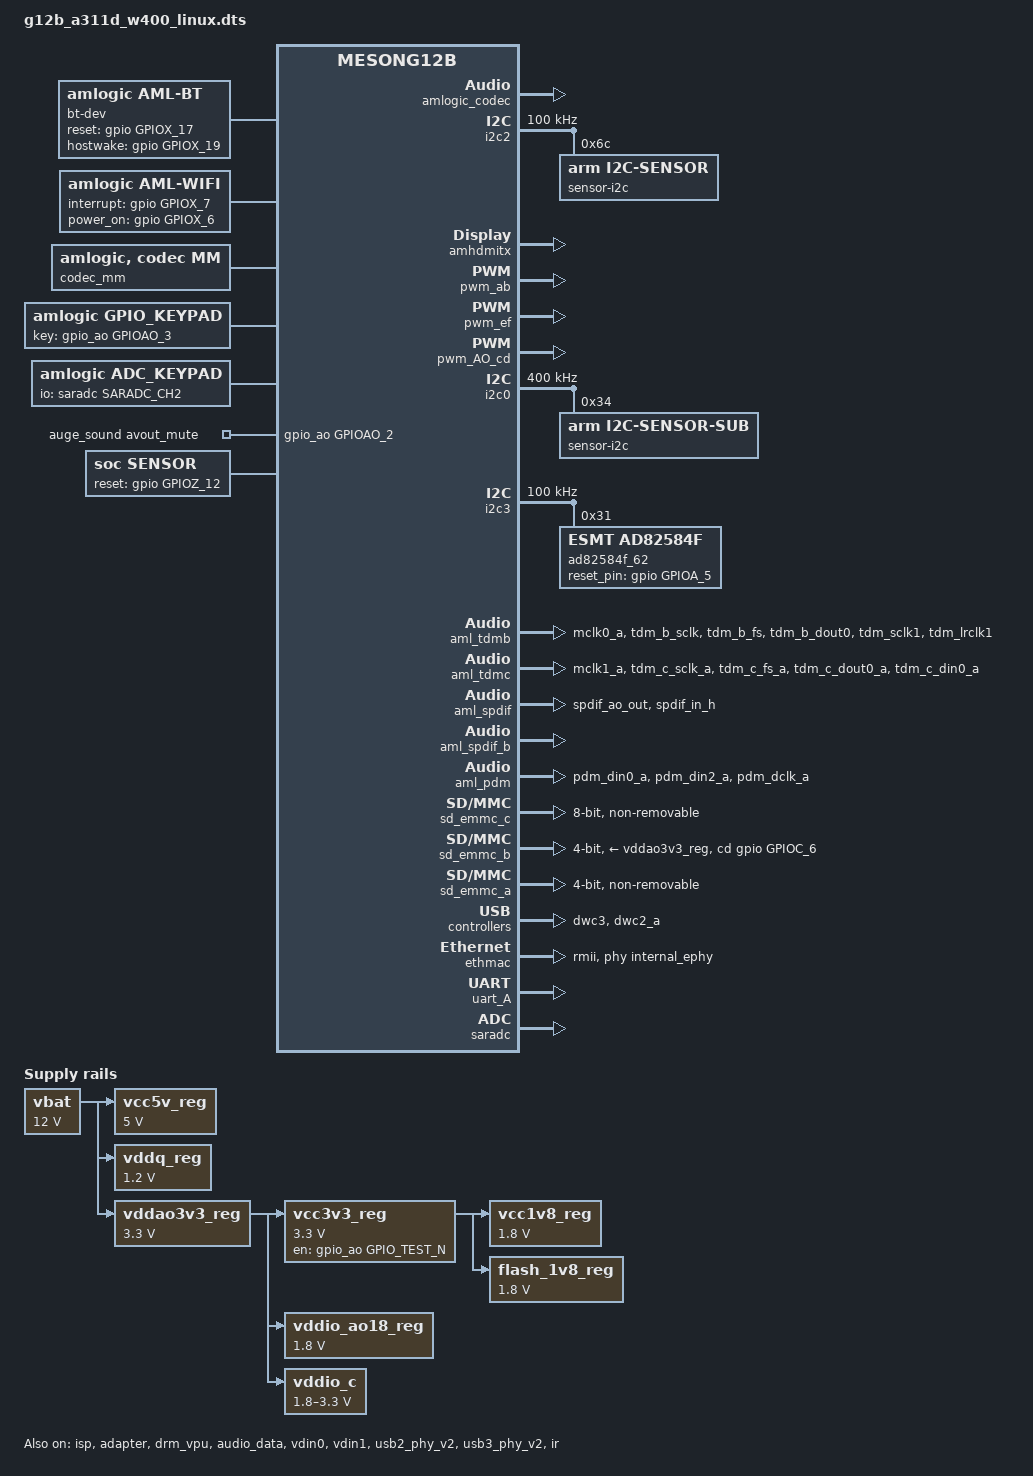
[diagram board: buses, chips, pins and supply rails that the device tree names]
// SPDX-License-Identifier: (GPL-2.0+ OR MIT)
/*
 * Copyright (c) 2019 Amlogic, Inc. All rights reserved.
 */

/dts-v1/;
#include "mesong12b.dtsi"
#include "mesong12b_w400-panel.dtsi"
#include "mesong12b_drm_dual_disp.dtsi"
#include "partition_normal_linux.dtsi"
#include "meson-ir-map-linux.dtsi"

/ {
	amlogic-dt-id = "g12b_w400_a";
	compatible = "g12b_w400_a";
	interrupt-parent = <&gic>;
	#address-cells = <2>;
	#size-cells = <2>;

	aliases {
		serial0 = &uart_AO;
		serial1 = &uart_A;
		serial2 = &uart_B;
		serial3 = &uart_C;
		serial4 = &uart_AO_B;
		i2c0 = &i2c0;
		i2c1 = &i2c1;
		i2c2 = &i2c2;
		i2c3 = &i2c3;
		i2c4 = &i2c_AO;
		tsensor0 = &p_tsensor;
		tsensor1 = &d_tsensor;
		spi1 = &spicc0;
		spi2 = &spicc1;
	};

	memory@00000000 {
		device_type = "memory";
		linux,usable-memory = <0x0 0x000000 0x0 0x80000000>;
	};
	reserved-memory {
		#address-cells = <2>;
		#size-cells = <2>;
		ranges;
		/* global autoconfigured region for contiguous allocations */
		ramoops@0x07400000 {
			compatible = "ramoops";
			reg = <0x0 0x07400000 0x0 0x00100000>;
			record-size = <0x20000>;
			console-size = <0x40000>;
			ftrace-size = <0x80000>;
			pmsg-size = <0x20000>;
		};

		dmc_reserved:linux,dmc_monitor {
			compatible = "amlogic,dmc_monitor-reserved";
			reg = <0x0 0x0 0x0 0x80000>;
		};

		debug_reserved:linux,iotrace {
			compatible = "amlogic, iotrace";
			reg = <0x0 0x04f00000 0x0 0x00100000>;
			io-size = <0x1b000>;
			sched-size = <0x2000>;
			irq-size = <0x1000>;
			smc-size = <0x1000>;
			misc-size = <0x1000>;
		};

		defendkey_reserved:linux,defendkey {
			compatible = "amlogic, defendkey";
			reg = <0x0 0x04e00000 0x0 0x100000>;
		};
		secmon_reserved:linux,secmon {
			compatible = "shared-dma-pool";
			/*reusable;*/
			no-map;
			size = <0x0 0x400000>;
			alignment = <0x0 0x400000>;
			alloc-ranges = <0x0 0x05000000 0x0 0x400000>;
		};
		logo_reserved:linux,meson-fb {
			compatible = "amlogic, meson-fb";
			reusable;
			size = <0x0 0x800000>;
			alignment = <0x0 0x400000>;
			reg = <0x0 0x3e800000 0x0 0x800000>;
		};
		ion_cma_reserved:linux,ion-dev {
			compatible = "shared-dma-pool";
			reusable;
			size = <0x0 0x0>;
			alignment = <0x0 0x400000>;
			no-kernel-map;
		};
		ion_fb_reserved:linux,ion-fb {
			compatible = "shared-dma-pool";
			reusable;
			size = <0x0 0x0>;
			alignment = <0x0 0x400000>;
		};
		dmaheap_cma_reserved:heap-gfx {
			compatible = "shared-dma-pool";
			reusable;
			size = <0x0 0x12c00000>;
			alignment = <0x0 0x400000>;
		};
		dmaheap_fb_reserved:heap-fb {
			compatible = "shared-dma-pool";
			reusable;
			size = <0x0 0x0>;
			alignment = <0x0 0x400000>;
		};

		//di_reserved:linux,di {
			//compatible = "amlogic, di-mem";
			/* buffer_size = 3621952(yuv422 8bit) */
			/* 4179008(yuv422 10bit full pack mode) */
			/** 10x3621952=34.6M(0x23) support 8bit **/
			/** 10x4736064=45.2M(0x2e) support 12bit **/
			/** 10x4179008=40M(0x28) support 10bit **/
			//size = <0x0 0x2800000>;
			//no-map;
		//};
		/*di CMA pool */
		di_cma_reserved:linux,di_cma {
			compatible = "shared-dma-pool";
			reusable;
			/* buffer_size = 3621952(yuv422 8bit)
			 *  | 4736064(yuv422 10bit)
			 *  | 4074560(yuv422 10bit full pack mode)
			 * 10x3621952=34.6M(0x23) support 8bit
			 * 10x4736064=45.2M(0x2e) support 12bit
			 * 10x4074560=40M(0x28) support 10bit
			 */
			//size = <0x0 0x02800000>;
			alignment = <0x0 0x400000>;
		};
		/*  POST PROCESS MANAGER */
		ppmgr_reserved:linux,ppmgr {
			compatible = "shared-dma-pool";
			size = <0x0 0x0>;
		};
		codec_mm_cma:linux,codec_mm_cma {
			compatible = "shared-dma-pool";
			reusable;
			/* ion_codec_mm max can alloc size 80M*/
			size = <0x0 0x13400000>;
			alignment = <0x0 0x400000>;
			linux,contiguous-region;
			clear-map;
		};
		/* codec shared reserved */
		codec_mm_reserved:linux,codec_mm_reserved {
			compatible = "amlogic, codec-mm-reserved";
			size = <0x0 0x0>;
			alignment = <0x0 0x100000>;
			//no-map;
		};

		/*  vdin1 CMA pool */
		vdin1_cma_reserved:linux,vdin1_cma {
			compatible = "shared-dma-pool";
			reusable;
			/* up to 1920x1080 yuv422 8bit and 5 buffers
			 * 1920x1080x2x5 = 20 M
			 */
			size = <0x0 0x01400000>;
			alignment = <0x0 0x400000>;
		};
		galcore_reserved:linux,galcore {
			compatible = "shared-dma-pool";
			reusable;
			size = <0x0 0x0>;
			alignment = <0x0 0x400000>;
			linux,contiguous-region;
		};

		isp_cma_reserved:linux,isp_cma {
			compatible = "shared-dma-pool";
			reusable;
			status = "okay";
			size = <0x0 0x8000000>;
			alignment = <0x0 0x400000>;
		};

		adapt_cma_reserved:linux,adapt_cma {
			compatible = "shared-dma-pool";
			reusable;
			status = "okay";
			size = <0x0 0x4000000>;
		};
	};
	galcore {
		status = "okay";
		memory-region = <&galcore_reserved>;
	};
	gpioleds {
		compatible = "gpio-leds";
		status = "disable";

		sys_led {
			label="sys_led";
			gpios=<&gpio_ao GPIOAO_11 GPIO_ACTIVE_HIGH>;
			default-state ="on";
			retain-state-suspended;
			linux,default-trigger="cpu0";
		};
	};

	bt-dev{
		compatible = "amlogic, aml-bt";
		dev_name = "bt-dev";
		status = "okay";
		reset-gpios = <&gpio GPIOX_17 GPIO_ACTIVE_HIGH>;
		hostwake-gpios = <&gpio GPIOX_19 GPIO_ACTIVE_HIGH>;
	};

	wifi{
		compatible = "amlogic, aml-wifi";
		dev_name = "aml_wifi";
		status = "okay";
		interrupt-gpios = <&gpio GPIOX_7 GPIO_ACTIVE_HIGH>;
		irq_trigger_type = "IRQF_TRIGGER_LOW";
		power_on-gpios = <&gpio GPIOX_6 GPIO_ACTIVE_HIGH>;
		wifi_static_buf = <1>;
		pinctrl-names = "default";
		pinctrl-0 = <&pwm_e_pins>;
		pwm_config = <&wifi_pwm_conf>;
	};

	wifi_pwm_conf:wifi_pwm_conf{
		pwm_channel1_conf {
			pwms = <&pwm_ef MESON_PWM_0 30541 0>;
			duty-cycle = <15270>;
			times = <10>;
		};
		pwm_channel2_conf {
			pwms = <&pwm_ef MESON_PWM_2 30500 0>;
			duty-cycle = <15250>;
			times = <12>;
		};
	};

	codec_mm {
		compatible = "amlogic, codec, mm";
		memory-region = <&codec_mm_cma &codec_mm_reserved>;
		dev_name = "codec_mm";
		status = "okay";
	};

	ppmgr {
		compatible = "amlogic, ppmgr";
		memory-region = <&ppmgr_reserved>;
		dev_name = "ppmgr";
		status = "okay";
	};

	deinterlace {
		compatible = "amlogic, deinterlace";
		status = "disabled";
		/* 0:use reserved; 1:use cma; 2:use cma as reserved */
		flag_cma = <4>; //<1>;
		//memory-region = <&di_reserved>;
		memory-region = <&di_cma_reserved>;
		interrupts = <0 46 1
				0 40 1>;
		interrupt-names = "pre_irq", "post_irq";
		clocks = <&clkc CLKID_VPU_CLKB_TMP>,
			<&clkc CLKID_VPU_CLKB>;
		clock-names = "vpu_clkb",
			"vpu_mux";
		clock-range = <334 667>;
		/* buffer-size = <3621952>;(yuv422 8bit) */
		buffer-size = <4074560>;/*yuv422 fullpack*/
		/* reserve-iomap = "true"; */
		/* if enable nr10bit, set nr10bit-support to 1 */
		post-wr-support = <1>;
		nr10bit-support = <1>;
		nrds-enable = <1>;
		pps-enable = <1>;
	};
	multi-di {
		compatible = "amlogic, dim-g12b";
		status = "okay";
		/* 0:use reserved; 1:use cma; 2:use cma as reserved */
		flag_cma = <4>;	//<1>;
		//memory-region = <&di_reserved>;
		memory-region = <&di_cma_reserved>;
		interrupts = <0 46 1
				0 40 1>;
		interrupt-names = "pre_irq", "post_irq";
		clocks = <&clkc CLKID_VPU_CLKB_TMP>,
			<&clkc CLKID_VPU_CLKB>;
		clock-names = "vpu_clkb",
			"vpu_mux";
		clock-range = <334 667>;
		/* buffer-size = <3621952>;(yuv422 8bit) */
		buffer-size = <4074560>;/*yuv422 fullpack*/
		/* reserve-iomap = "true"; */
		/* if enable nr10bit, set nr10bit-support to 1 */
		post-wr-support = <1>;
		nr10bit-support = <1>;
		nrds-enable = <1>;
		pps-enable = <1>;
	};
	ionvideo {
		compatible = "amlogic, ionvideo";
		dev_name = "ionvideo";
		status = "okay";
	};
	amlvideo2_0 {
		compatible = "amlogic, amlvideo2";
		dev_name = "amlvideo2";
		status = "okay";
		amlvideo2_id = <0>;
		cma_mode = <1>;
	};
	amlvideo2_1 {
		compatible = "amlogic, amlvideo2";
		dev_name = "amlvideo2";
		status = "okay";
		amlvideo2_id = <1>;
		cma_mode = <1>;
	};

	gpio_keypad {
		compatible = "amlogic, gpio_keypad";
		status = "okay";
		scan_period = <20>;
		key_num = <1>;
		key_name = "power";
		key_code = <116>;
		key-gpios = <&gpio_ao  GPIOAO_3  GPIO_ACTIVE_HIGH>;
		detect_mode = <0>;/*0:polling mode, 1:irq mode*/
	};

	adc_keypad {
		compatible = "amlogic, adc_keypad";
		status = "okay";
		key_name = "vol-", "vol+", "enter";
		key_num = <3>;
		io-channels = <&saradc SARADC_CH2>;
		io-channel-names = "key-chan-2";
		key_chan = <SARADC_CH2 SARADC_CH2 SARADC_CH2>;
		key_code = <114 115 28>;
		key_val = <143 266 389>; //val=voltage/1800mV*1023
		key_tolerance = <40 40 40>;
	};

	unifykey{
		compatible = "amlogic,unifykey";
		status = "ok";
		unifykey-num = <15>;
		unifykey-index-0 = <&keysn_0>;
		unifykey-index-1 = <&keysn_1>;
		unifykey-index-2 = <&keysn_2>;
		unifykey-index-3 = <&keysn_3>;
		unifykey-index-4 = <&keysn_4>;
		unifykey-index-5 = <&keysn_5>;
		unifykey-index-6 = <&keysn_6>;
		unifykey-index-7 = <&keysn_7>;
		unifykey-index-8 = <&keysn_8>;
		unifykey-index-9 = <&keysn_9>;
		unifykey-index-10= <&keysn_10>;
		unifykey-index-11= <&keysn_11>;
		unifykey-index-12= <&keysn_12>;
		unifykey-index-13= <&keysn_13>;
		unifykey-index-14= <&keysn_14>;

		keysn_0: key_0{
			key-name = "usid";
			key-device = "normal";
			key-permit = "read","write","del";
		};
		keysn_1:key_1{
			key-name = "mac";
			key-device = "normal";
			key-permit = "read","write","del";
		};
		keysn_2:key_2{
			key-name = "hdcp";
			key-device = "secure";
			key-type = "sha1";
			key-permit = "read","write","del";
		};
		keysn_3:key_3{
			key-name = "secure_boot_set";
			key-device = "efuse";
			key-permit = "write";
		};
		keysn_4:key_4{
			key-name = "mac_bt";
			key-device = "normal";
			key-permit = "read","write","del";
			key-type  = "mac";
		};
		keysn_5:key_5{
			key-name = "mac_wifi";
			key-device = "normal";
			key-permit = "read","write","del";
			key-type = "mac";
		};
		keysn_6:key_6{
			key-name = "hdcp2_tx";
			key-device = "normal";
			key-permit = "read","write","del";
		};
		keysn_7:key_7{
			key-name = "hdcp2_rx";
			key-device = "normal";
			key-permit = "read","write","del";
		};
		keysn_8:key_8{
			key-name = "widevinekeybox";
			key-device = "secure";
			key-permit = "read","write","del";
		};
		keysn_9:key_9{
			key-name = "deviceid";
			key-device = "normal";
			key-permit = "read","write","del";
		};
		keysn_10:key_10{
			key-name = "hdcp22_fw_private";
			key-device = "secure";
			key-permit = "read","write","del";
		};
		keysn_11:key_11{
			key-name = "PlayReadykeybox25";
			key-device = "secure";
			key-permit = "read","write","del";
		};
		keysn_12:key_12{
			key-name = "prpubkeybox";// PlayReady
			key-device = "secure";
			key-permit = "read","write","del";
		};
		keysn_13:key_13{
			key-name = "prprivkeybox";// PlayReady
			key-device = "secure";
			key-permit = "read","write","del";
		};
		keysn_14:key_14{
			key-name = "netflix_mgkid";
			key-device = "secure";
			key-permit = "read","write","del";
		};
	};//End unifykey

	amlvecm {
		compatible = "amlogic, vecm";
		dev_name = "aml_vecm";
		status = "okay";
		gamma_en = <0>;/*1:enable ;0:disable*/
		wb_en = <0>;/*1:enable ;0:disable*/
		cm_en = <0>;/*1:enable ;0:disable*/
	};
	amdolby_vision {
		compatible = "amlogic, dolby_vision_g12a";
		dev_name = "aml_amdolby_vision_driver";
		status = "okay";
		tv_mode = <0>;/*1:enable ;0:disable*/
	};

	/* Audio Related start */
	pdm_codec:dummy{
		#sound-dai-cells = <0>;
		compatible = "amlogic, pdm_dummy_codec";
		status = "okay";
	};
	dummy_codec:dummy{
		#sound-dai-cells = <0>;
		compatible = "amlogic, aml_dummy_codec";
		status = "okay";
	};
	amlogic_codec:t9015{
		#sound-dai-cells = <0>;
		compatible = "amlogic, aml_codec_T9015";
		reg = <0x0 0xFF632000 0x0 0x2000>;
		is_auge_used = <1>; /* meson or auge chipset used */
		tdmout_index = <1>;
		status = "okay";
	};
	audio_effect:eqdrc{
		/*eq_enable = <1>;*/
		/*drc_enable = <1>;*/
		/*
		 * 0:tdmout_a
		 * 1:tdmout_b
		 * 2:tdmout_c
		 * 3:spdifout
		 * 4:spdifout_b
		 */
		eqdrc_module = <1>;
		/* max 0xf, each bit for one lane, usually one lane */
		lane_mask = <0x1>;
		/* max 0xff, each bit for one channel */
		channel_mask = <0x3>;
	};
	auge_sound {
		compatible = "amlogic, auge-sound-card";
		aml-audio-card,name = "AML-AUGESOUND";

		/*avout mute gpio*/
		avout_mute-gpios = <&gpio_ao GPIOAO_2 GPIO_ACTIVE_HIGH>;
		/*for audio effect ,eqdrc */
		//aml-audio-card,effect = <&audio_effect>;

		aml-audio-card,dai-link@0 {
			format = "dsp_a";
			mclk-fs = <512>;
			//continuous-clock;
			//bitclock-inversion;
			//frame-inversion;
			bitclock-master = <&aml_tdma>;
			frame-master = <&aml_tdma>;
			//bitclock-master = <&tdmacodec>;
			//frame-master = <&tdmacodec>;
			/* suffix-name, sync with android audio hal
			 * what's the dai link used for
			 */
			suffix-name = "alsaPORT-pcm";
			tdmacpu: cpu {
				sound-dai = <&aml_tdma>;
				dai-tdm-slot-tx-mask =
							<1 1 1 1 1 1 1 1>;
				dai-tdm-slot-rx-mask =
							<1 1 1 1 1 1 1 1>;
				dai-tdm-slot-num = <8>;
				dai-tdm-slot-width = <32>;
				system-clock-frequency = <24576000>;
			};
			tdmacodec: codec {
				sound-dai = <&dummy_codec>;
			};
		};

		aml-audio-card,dai-link@1 {
			format = "i2s";
			mclk-fs = <256>;
			//continuous-clock;
			//bitclock-inversion;
			//frame-inversion;
			bitclock-master = <&aml_tdmb>;
			frame-master = <&aml_tdmb>;
			//bitclock-master = <&tdmbcodec>;
			//frame-master = <&tdmbcodec>;
			/* suffix-name, sync with android audio hal
			 * what's the dai link used for
			 */
			suffix-name = "alsaPORT-i2s";
			cpu {
				sound-dai = <&aml_tdmb>;
				dai-tdm-slot-tx-mask = <1 1>;
				dai-tdm-slot-rx-mask = <1 1>;
				dai-tdm-slot-num = <2>;
				dai-tdm-slot-width = <32>;
				system-clock-frequency = <12288000>;
			};
			tdmbcodec: codec {
				sound-dai = <&amlogic_codec &ad82584f_62>;
			};
		};

		aml-audio-card,dai-link@2 {
			format = "i2s";
			mclk-fs = <256>;
			//continuous-clock;
			//bitclock-inversion;
			//frame-inversion;
			bitclock-master = <&aml_tdmc>;
			frame-master = <&aml_tdmc>;
			/* suffix-name, sync with android audio hal
			 * what's the dai link used for
			 */
			//suffix-name = "alsaPORT-tdm";
			cpu {
				sound-dai = <&aml_tdmc>;
				dai-tdm-slot-tx-mask = <1 1>;
				dai-tdm-slot-rx-mask = <1 1>;
				dai-tdm-slot-num = <2>;
				dai-tdm-slot-width = <32>;
				system-clock-frequency = <12288000>;
			};
			codec {
				sound-dai = <&dummy_codec>;
			};
		};

		aml-audio-card,dai-link@3 {
			mclk-fs = <64>;
			/* suffix-name, sync with android audio hal
			 * what's the dai link used for
			 */
			suffix-name = "alsaPORT-pdm-builtinmic";
			cpu {
				sound-dai = <&aml_pdm>;
			};
			codec {
				sound-dai = <&pdm_codec>;
			};
		};

		aml-audio-card,dai-link@4 {
			mclk-fs = <128>;
			/* suffix-name, sync with android audio hal
			 * what's the dai link used for
			 */
			suffix-name = "alsaPORT-spdif";
			cpu {
				sound-dai = <&aml_spdif>;
				system-clock-frequency = <6144000>;
			};
			codec {
				sound-dai = <&dummy_codec>;
			};
		};

		aml-audio-card,dai-link@5 {
			mclk-fs = <128>;
			continuous-clock;
			/* suffix-name, sync with android audio hal
			 * what's the dai link used for
			 */
			suffix-name = "alsaPORT-spdifb";
			cpu {
				sound-dai = <&aml_spdif_b>;
				system-clock-frequency = <6144000>;
			};
			codec {
				sound-dai = <&dummy_codec>;
			};
		};

		aml-audio-card,dai-link@6 {
			mclk-fs = <256>;
			continuous-clock;
			suffix-name = "alsaPORT-loopback";
			cpu {
				sound-dai = <&loopbacka>;
				system-clock-frequency = <12288000>;
			};
			codec {
				sound-dai = <&dummy_codec>;
			};
		};
	};
	audiolocker: locker {
		compatible = "amlogic, audiolocker";
		clocks = <&clkaudio CLKID_AUDIO_LOCKER_OUT
				&clkaudio CLKID_AUDIO_LOCKER_IN
				&clkaudio CLKID_AUDIO_MCLK_D
				&clkaudio CLKID_AUDIO_MCLK_E
				&clkc CLKID_MPLL1
				&clkc CLKID_MPLL2>;
		clock-names = "lock_out", "lock_in", "out_src",
					"in_src", "out_calc", "in_ref";
		interrupts = <GIC_SPI 1 IRQ_TYPE_EDGE_RISING>;
		interrupt-names = "irq";
		frequency = <49000000>; /* pll */
		dividor = <49>; /* locker's parent */
		status = "disabled";
	};
	/* Audio Related end */

	vbat: fixedregulator@vbat {
		compatible = "regulator-fixed";
		regulator-name = "12V";
		regulator-min-microvolt = <12000000>;
		regulator-max-microvolt = <12000000>;
		regulator-boot-on;
		regulator-always-on;
	};

	vcc5v_reg: fixedregulator@vcc5v {
		vin-supply = <&vbat>;
		compatible = "regulator-fixed";
		regulator-name = "VCC_5V";
		regulator-min-microvolt = <5000000>;
		regulator-max-microvolt = <5000000>;
		pinctrl-names = "default";
		//GPIOH_8(OD) Set:
		// Output disable= Enable VCC5V
		//gpio = <&gpio GPIOH_8 GPIO_ACTIVE_HIGH>;
		startup-delay-us = <70000>;
		enable-active-high;
		regulator-boot-on;
		regulator-always-on;
	};

	vddq_reg: fixedregulator@vddq {
		compatible = "regulator-fixed";
		vin-supply = <&vbat>;
		regulator-name = "VDDQ";
		regulator-min-microvolt = <1200000>;
		regulator-max-microvolt = <1200000>;
		regulator-boot-on;
		regulator-always-on;
	};

	vddao3v3_reg: fixedregulator@vddao3v3 {
		vin-supply = <&vbat>;
		compatible = "regulator-fixed";
		regulator-name = "VDDAO_3.3V";
		regulator-min-microvolt = <3300000>;
		regulator-max-microvolt = <3300000>;
		regulator-boot-on;
		regulator-always-on;
	};

	vcc3v3_reg: fixedregulator@vcc3v3 {
		compatible = "regulator-fixed";
		vin-supply = <&vddao3v3_reg>;
		regulator-name = "VCC3.3V";
		regulator-min-microvolt = <3300000>;
		regulator-max-microvolt = <3300000>;
		pinctrl-names = "default";
		//TEST_N(High) Set:
		//Output L= Disable VCC3.3V
		//Output H= Enable VCC3.3V
		gpio = <&gpio_ao GPIO_TEST_N GPIO_ACTIVE_HIGH>;
		startup-delay-us = <70000>;
		enable-active-high;
		regulator-boot-on;
		regulator-always-on;
	};

	vcc1v8_reg: fixedregulator@vcc1v8 {
		vin-supply = <&vcc3v3_reg>;
		compatible = "regulator-fixed";
		regulator-name = "VCC1.8V";
		regulator-min-microvolt = <1800000>;
		regulator-max-microvolt = <1800000>;
		regulator-boot-on;
		regulator-always-on;
	};

	flash_1v8_reg: fixedregulator@flash_1v8 {
		vin-supply = <&vcc3v3_reg>;
		compatible = "regulator-fixed";
		regulator-name = "FLASH_1.8V";
		regulator-min-microvolt = <1800000>;
		regulator-max-microvolt = <1800000>;
		regulator-boot-on;
		regulator-always-on;
	};

	vddio_ao18_reg: fixedregulator@vddio_ao18 {
		vin-supply = <&vddao3v3_reg>;
		compatible = "regulator-fixed";
		regulator-name = "VDDIO_AO18";
		regulator-min-microvolt = <1800000>;
		regulator-max-microvolt = <1800000>;
		regulator-boot-on;
		regulator-always-on;
	};

	vddio_c: sdcard-1v8_3v3 {
		compatible = "regulator-gpio";
		regulator-name = "VDDIO_C";
		vin-supply = <&vddao3v3_reg>;
		regulator-min-microvolt = <1800000>;
		regulator-max-microvolt = <3300000>;
		// L/HiZ: 3.3V, H: 1.8V
		gpio = <&gpio_ao GPIOAO_2 GPIO_ACTIVE_HIGH>;
		gpios-states = <0>;
		regulator-boot-on;
		//regulator-always-on;

		/* Based on P200 schematics, signal CARD_1.8V/3.3V_CTR */
		states = <1800000 1
			  3300000 0>;
	};

	cpu_opp_table0: cpu_opp_table0 {
		compatible = "operating-points-v2";
		opp-shared;

		opp00 {
			opp-hz = /bits/ 64 <500000000>;
			opp-microvolt = <770000>;
		};
		opp01 {
			opp-hz = /bits/ 64 <666666666>;
			opp-microvolt = <770000>;
		};
		opp02 {
			opp-hz = /bits/ 64 <1000000000>;
			opp-microvolt = <770000>;
		};
		opp03 {
			opp-hz = /bits/ 64 <1200000000>;
			opp-microvolt = <770000>;
		};
		opp04 {
			opp-hz = /bits/ 64 <1398000000>;
			opp-microvolt = <800000>;
		};
		opp05 {
			opp-hz = /bits/ 64 <1512000000>;
			opp-microvolt = <840000>;
		};
		opp06 {
			opp-hz = /bits/ 64 <1608000000>;
			opp-microvolt = <880000>;
		};
		opp07 {
			opp-hz = /bits/ 64 <1704000000>;
			opp-microvolt = <910000>;
		};
	};

	cpu_opp_table1: cpu_opp_table1 {
		compatible = "operating-points-v2";
		opp-shared;

		opp00 {
			opp-hz = /bits/ 64 <500000000>;
			opp-microvolt = <790000>;
		};
		opp01 {
			opp-hz = /bits/ 64 <666666666>;
			opp-microvolt = <790000>;
		};
		opp02 {
			opp-hz = /bits/ 64 <1000000000>;
			opp-microvolt = <810000>;
		};
		opp03 {
			opp-hz = /bits/ 64 <1200000000>;
			opp-microvolt = <810000>;
		};
		opp04 {
			opp-hz = /bits/ 64 <1398000000>;
			opp-microvolt = <830000>;
		};
		opp05 {
			opp-hz = /bits/ 64 <1512000000>;
			opp-microvolt = <870000>;
		};
		opp06 {
			opp-hz = /bits/ 64 <1608000000>;
			opp-microvolt = <910000>;
		};
		opp07 {
			opp-hz = /bits/ 64 <1704000000>;
			opp-microvolt = <940000>;
		};
	};

	cpufreq-meson {
		compatible = "amlogic, cpufreq-meson";
		status = "okay";
	};

	sensor: sensor {
		compatible = "soc, sensor";
		status = "okay";
		sensor-name = "imx290"; /*imx290;os08a10;imx227*/
		sensor-name-sub = "imx290sub";
		reset = <&gpio GPIOZ_12 GPIO_ACTIVE_HIGH>;
	};

	iq: iq {
		compatible = "soc, iq";
		status = "okay";
		sensor-name = "imx290"; /*imx290;os08a10;imx227*/
	};
	lens: lens {
		compatible = "soc, lens";
		status = "okay";
	};
}; /* end of / */

&i2c2 {
	status = "okay";
	pinctrl-names="default";
	pinctrl-0=<&i2c2_master_pins2>;
	clock-frequency = <100000>; /* default 100k */
	sensor-i2c@6c {
		compatible = "arm, i2c-sensor";
		reg = <0x6c>;
		reg-names = "i2c-sensor";
		slave-addr = <0x6c>;
		reg-type = <2>;
		reg-data-type = <1>;
		link-device = <&phycsi>;
	};
};

&isp {
	status = "okay";
	temper-line-offset = <0x1680>;
	temper-buf-size = <6>;
	temper-frame-num = <1>;
	temper-frame-size = <0x5EEC00>;
	temper-line-offset1 = <0x1680>;
	temper-buf-size1 = <6>;
	temper-frame-num1 = <1>;
	temper-frame-size1 = <0x5EEC00>;
	temper-line-offset2 = <0x1680>;
	temper-buf-size2 = <6>;
	temper-frame-num2 = <1>;
	temper-frame-size2 = <0x5EEC00>;
	memory-region = <&isp_cma_reserved>;
};

&adapter {
	status = "okay";
	mem_alloc = <64>;
	memory-region = <&adapt_cma_reserved>;
};

&meson_fb {
	status = "disable";
	display_size_default = <1920 1080 1920 2160 32>;
	mem_size = <0x00800000 0x1980000 0x100000 0x100000 0x800000>;
	logo_addr = "0x7f800000";
	mem_alloc = <1>;
	pxp_mode = <0>; /** 0:normal mode 1:pxp mode */
};

&drm_subsystem {
	dummyl_from_hdmitx = /bits/ 8  <1>;
};

&amhdmitx {
	status = "okay";
	hdcp_ctl_lvl = <1>;
};

&drm_vpu {
	status = "okay";
	logo_addr = "0x3e800000";
};

&pwm_ab {
		status = "okay";
	};

&pwm_ef {
		status = "okay";
	};

&pwm_AO_cd {
		status = "okay";
	};

&i2c0 {
	status = "okay";
	pinctrl-names = "default";
	pinctrl-0 = <&i2c0_master_pins2>;
	clock-frequency = <400000>;

	sensor-i2c@34 {
		compatible = "arm, i2c-sensor-sub";
		reg = <0x34>;
		reg-names = "i2c-sensor";
		slave-addr = <0x34>;
		reg-type = <2>;
		reg-data-type = <1>;
		link-device = <&phycsi>;
	};

	touchscreen@38 {
		compatible = "focaltech,fts";
		status = "disabled";
		reg = <0x38>;
		reset-gpio = <&gpio GPIOZ_9 GPIO_ACTIVE_HIGH>;
		irq-gpio = <&gpio GPIOZ_3 GPIO_ACTIVE_HIGH>;
		x_max = <720>;
		y_max = <1280>;
		max-touch-number = <10>;
	};
};

&i2c3 {
	status = "okay";
	pinctrl-names="default";
	pinctrl-0=<&i2c3_master_pins2>;
	clock-frequency = <100000>; /* default 100k */

	/* for ref board */
	ad82584f_62: ad82584f_62@31 {
		compatible = "ESMT, ad82584f";
		#sound-dai-cells = <0>;
		reg = <0x31>;
		status = "okay";
		reset_pin = <&gpio GPIOA_5 0>;
	};

	tlv320adc3101_32: tlv320adc3101_32@19 {
		compatible = "ti,tlv320adc3101";
		#sound-dai-cells = <0>;
		reg = <0x19>;
		differential_pair = <1>;
		status = "disabled";
	};
};

&audiobus {
	aml_tdma: tdma {
		compatible = "amlogic, g12a-snd-tdma";
		#sound-dai-cells = <0>;
		dai-tdm-lane-slot-mask-in = <0 1>;
		dai-tdm-oe-lane-slot-mask-out = <1 0>;
		dai-tdm-clk-sel = <0>;
		clocks = <&clkaudio CLKID_AUDIO_MCLK_A
				&clkc CLKID_MPLL0>;
		clock-names = "mclk", "clk_srcpll";
		pinctrl-names = "tdm_pins";
		pinctrl-0 = <&tdmout_a &tdmin_a>;
	};

	aml_tdmb: tdmb {
		compatible = "amlogic, g12a-snd-tdmb";
		#sound-dai-cells = <0>;
		dai-tdm-lane-slot-mask-in = <0 1 0 0>;
		dai-tdm-lane-slot-mask-out = <1 0 0 0>;
		dai-tdm-clk-sel = <1>;
		clocks = <&clkaudio CLKID_AUDIO_MCLK_B
				&clkaudio CLKID_AUDIO_MCLK_PAD0
				&clkc CLKID_MPLL1
				&clkc CLKID_MPLL0
				&clkaudio CLKID_AUDIO_SPDIFOUT_CTRL>;
		clock-names = "mclk", "mclk_pad", "clk_srcpll",
			"samesource_srcpll", "samesource_clk";
		pinctrl-names = "tdm_pins";
		pinctrl-0 = <&tdmb_mclk &tdmout_b &tdm_b_clk_pins>;
		/*
		 * 0: tdmout_a;
		 * 1: tdmout_b;
		 * 2: tdmout_c;
		 * 3: spdifout;
		 * 4: spdifout_b;
		 */
		samesource_sel = <3>;
	};

	aml_tdmc: tdmc {
		compatible = "amlogic, g12a-snd-tdmc";
		#sound-dai-cells = <0>;
		dai-tdm-lane-slot-mask-in = <1 0 0 0>;
		#dai-tdm-lane-slot-mask-out = <1 0 1 1>;
		#dai-tdm-lane-oe-slot-mask-in = <0 0 0 0>;
		#dai-tdm-lane-oe-slot-mask-out = <1 0 0 0>;
		dai-tdm-clk-sel = <2>;
		clocks = <&clkaudio CLKID_AUDIO_MCLK_C
				&clkc CLKID_MPLL2>;
		clock-names = "mclk", "clk_srcpll";
		pinctrl-names = "tdm_pins";
		pinctrl-0 = <&tdmc_mclk &tdmout_c &tdmin_c>;
	};

	/* copy a useless tdm to output for hdmi, no pinmux */
	aml_i2s2hdmi: i2s2hdmi {
		compatible = "amlogic, g12a-snd-tdmc";
		#sound-dai-cells = <0>;
		dai-tdm-lane-slot-mask-out = <1 1 1 1>;
		dai-tdm-clk-sel = <2>;
		clocks = <&clkaudio CLKID_AUDIO_MCLK_C
				&clkc CLKID_MPLL2>;
		clock-names = "mclk", "clk_srcpll";

		i2s2hdmi = <1>;

		status = "disabled";
	};

	aml_spdif: spdif {
		compatible = "amlogic, g12a-snd-spdif-a";
		#sound-dai-cells = <0>;
		clocks = <&clkc CLKID_MPLL0
				&clkc CLKID_FCLK_DIV4
				&clkaudio CLKID_AUDIO_SPDIFIN
				&clkaudio CLKID_AUDIO_SPDIFOUT
				&clkaudio CLKID_AUDIO_SPDIFIN_CTRL
				&clkaudio CLKID_AUDIO_SPDIFOUT_CTRL>;
		clock-names = "sysclk", "fixed_clk", "gate_spdifin",
				"gate_spdifout", "clk_spdifin", "clk_spdifout";
		interrupts =
				<GIC_SPI 151 IRQ_TYPE_EDGE_RISING>;

		interrupt-names = "irq_spdifin";
		pinctrl-names = "spdif_pins",
					"spdif_pins_mute";
		pinctrl-0 = <&spdifout &spdifin>;
		pinctrl-1 = <&spdifout_a_mute>;
		status = "okay";
	};

	aml_spdif_b: spdif_b {
		compatible = "amlogic, g12a-snd-spdif-b";
		#sound-dai-cells = <0>;
		clocks = <&clkc CLKID_MPLL0 /*CLKID_HIFI_PLL*/
				&clkaudio CLKID_AUDIO_SPDIFOUTB
				&clkaudio CLKID_AUDIO_SPDIFOUTB_CTRL>;
		clock-names = "sysclk",
				"gate_spdifout", "clk_spdifout";
		status = "okay";
	};

	aml_pdm: pdm {
		compatible = "amlogic, g12a-snd-pdm";
		#sound-dai-cells = <0>;
		clocks = <&clkaudio CLKID_AUDIO_PDM
			&clkc CLKID_FCLK_DIV3
			&clkc CLKID_MPLL3
			&clkaudio CLKID_AUDIO_PDMIN0
			&clkaudio CLKID_AUDIO_PDMIN1>;
		clock-names = "gate",
			"sysclk_srcpll",
			"dclk_srcpll",
			"pdm_dclk",
			"pdm_sysclk";
		pinctrl-names = "pdm_pins";
		pinctrl-0 = <&pdmin>;
		filter_mode = <1>; /* mode 0~4, defalut:1 */
		status = "okay";
	};

	loopbacka: loopbacka {
		compatible = "amlogic, g12a-loopback";
		#sound-dai-cells = <0>;

		clocks = <&clkaudio CLKID_AUDIO_PDM
			&clkc CLKID_FCLK_DIV3
			&clkc CLKID_MPLL3
			&clkaudio CLKID_AUDIO_PDMIN0
			&clkaudio CLKID_AUDIO_PDMIN1
			&clkc CLKID_MPLL1
			&clkaudio CLKID_AUDIO_MCLK_B>;
		clock-names = "pdm_gate",
			"pdm_sysclk_srcpll",
			"pdm_dclk_srcpll",
			"pdm_dclk",
			"pdm_sysclk",
			"tdminlb_mpll",
			"tdminlb_mclk";

		/* datain src
		 * 0: tdmin_a;
		 * 1: tdmin_b;
		 * 2: tdmin_c;
		 * 3: spdifin;
		 * 4: pdmin;
		 */
		datain_src = <4>;
		datain_chnum = <2>;
		datain_chmask = <0x3>;
		/* config which data pin for loopback */
		datain-lane-mask-in = <1 0 0 0>;

		sys-src-clk-freq = <1155072000>;

		/* calc mclk for datalb */
		mclk-fs = <256>;

		/* tdmin_lb src
		 * 0: tdmoutA
		 * 1: tdmoutB
		 * 2: tdmoutC
		 * 3: PAD_TDMINA_DIN*, refer to core pinmux
		 * 4: PAD_TDMINB_DIN*, refer to core pinmux
		 * 5: PAD_TDMINC_DIN*, refer to core pinmux
		 * 6: PAD_TDMINA_D*, oe, refer to core pinmux
		 * 7: PAD_TDMINB_D*, oe, refer to core pinmux
		 */
		/* if tdmin_lb >= 3, use external loopback */
		datalb_src = <1>;
		datalb_chnum = <2>;
		datalb_chmask = <0x3>;
		/* config which data pin as loopback */
		datalb-lane-mask-in = <1 0 0 0>;
		//power-domains = <&pwrdm PDID_CX_AUDIO>;

		status = "okay";
	};

	audioresample: resample {
		compatible = "amlogic, g12a-resample";
		clocks = <&clkc CLKID_MPLL3
				&clkaudio CLKID_AUDIO_MCLK_F
				&clkaudio CLKID_AUDIO_RESAMPLE_CTRL>;
		clock-names = "resample_pll", "resample_src", "resample_clk";
		/*same with toddr_src
		 *	TDMIN_A, 0
		 *	TDMIN_B, 1
		 *	TDMIN_C, 2
		 *	SPDIFIN, 3
		 *	PDMIN,  4
		 *	NONE,
		 *	TDMIN_LB, 6
		 *	LOOPBACK, 7
		 */
		resample_module = <4>;
		status = "disabled";
	};

	aml_pwrdet: pwrdet {
		compatible = "amlogic, g12a-power-detect";

		interrupts = <GIC_SPI 155 IRQ_TYPE_EDGE_RISING>;
		interrupt-names = "pwrdet_irq";

		/* pwrdet source sel
		 * 7: loopback;
		 * 6: tdmin_lb;
		 * 5: reserved;
		 * 4: pdmin;
		 * 3: spdifin;
		 * 2: tdmin_c;
		 * 1: tdmin_b;
		 * 0: tdmin_a;
		 */
		pwrdet_src = <4>;

		hi_th = <0x70000>;
		lo_th = <0x16000>;

		status = "disabled";
	};
}; /* end of audiobus */

&pinctrl_periphs {
	tdmout_a: tdmout_a {
		mux { /* GPIOX_11, GPIOX_10, GPIOX_9 */
			groups = "tdm_a_sclk",
				"tdm_a_fs",
				"tdm_a_din0";
			function = "tdm_a";
		};
	};

	tdmin_a: tdmin_a {
		mux { /* GPIOX_8 */
			groups = "tdm_a_din1";
			function = "tdm_a";
		};
	};

	tdmb_mclk: tdmb_mclk {
		mux {
			groups = "mclk0_a";
			function = "mclk0";
			drive-strength = <2>;
		};
	};
	tdmout_b: tdmout_b {
		mux { /* GPIOA_1, GPIOA_2, GPIOA_3 */
			groups = "tdm_b_sclk",
				"tdm_b_fs",
				"tdm_b_dout0";
			function = "tdm_b";
			drive-strength = <2>;
		};
	};

	tdmin_b:tdmin_b {
		mux { /* GPIOA_4 */
			groups = "tdm_b_din1"
				/*,"tdmb_slv_sclk", "tdmb_slv_fs"*/;
			function = "tdm_b";
			drive-strength = <2>;
		};
	};

	tdmc_mclk: tdmc_mclk {
		mux { /* GPIOA_11 */
			groups = "mclk1_a";
			function = "mclk1";
		};
	};

	clk12_24_z_pins:clk12_24_z_pins {
		mux {
			groups = "clk12_24_z";
			function = "clk12_24_ee";
			drive-strength = <3>;
		};
	};

	tdmout_c:tdmout_c {
		mux { /* GPIOA_12, GPIOA_13, GPIOA_8, GPIOA_7*/
			groups = "tdm_c_sclk_a",
				"tdm_c_fs_a",
				"tdm_c_dout0_a"
				/*,	"tdm_c_dout2",
				 * "tdm_c_dout3"
				 */;
			function = "tdm_c";
		};
	};

	tdmin_c:tdmin_c {
		mux { /* GPIOA_10 */
			groups = "tdm_c_din0_a";
			function = "tdm_c";
		};
	};

	spdifin: spdifin {
		mux {/* GPIOH_5 */
			groups = "spdif_in_h";
			function = "spdif_in";
		};
	};

	/* GPIOH_4 */
	/*
	 * spdifout: spdifout {
	 *	mux {
	 *		groups = "spdif_out_h";
	 *		function = "spdif_out";
	 *	};
	 *};
	 */

	pdmin: pdmin {
		mux { /* gpioa_5, gpioa_6, gpioa_7, gpioa_8, gpioa_9*/
			groups = "pdm_din0_a",
			/*"pdm_din1_a",*/
			"pdm_din2_a",
			/*"pdm_din3_a",*/
			"pdm_dclk_a";
			function = "pdm";
		};
	};
}; /* end of pinctrl_periphs */

&pinctrl_aobus {
	spdifout: spdifout {
		mux { /* gpioao_10 */
			groups = "spdif_ao_out";
			function = "spdif_ao_out";
		};
	};

	spdifout_a_mute: spdifout_a_mute {
		mux { /* gpioao_10 */
			groups = "GPIOAO_10";
			function = "gpio_aobus";
		};
	};
};  /* end of pinctrl_aobus */

&irblaster {
	status = "disabled";
};

&audio_data {
	status = "okay";
};

/*if you want to use vdin just modify status to "ok"*/
&vdin0 {
	/*memory-region = <&vdin0_cma_reserved>;*/
	status = "okay";
	/* up to 1920x1080 yuv422 8bit and 5 buffers
	 * 1920x1080x2x5 = 20 M
	 */
	cma_size = <20>;
	/*vdin write mem color depth support:
	 *bit0:support 8bit
	 *bit1:support 9bit
	 *bit2:support 10bit
	 *bit3:support 12bit
	 *bit4:support yuv422 10bit full pack mode (from txl new add)
	 */
	tv_bit_mode = <0x1>;
};

&vdin1 {
	memory-region = <&vdin1_cma_reserved>;
	status = "okay";
	/*vdin write mem color depth support:
	 *bit0:support 8bit
	 *bit1:support 9bit
	 *bit2:support 10bit
	 *bit3:support 12bit
	 */
	tv_bit_mode = <1>;
};

&sd_emmc_c {
	status = "okay";
	pinctrl-0 = <&emmc_pins>, <&emmc_ds_pins>;
	pinctrl-1 = <&emmc_clk_gate_pins>;
	pinctrl-names = "default", "clk-gate";
	bus-width = <8>;
	cap-mmc-highspeed;
	max-frequency = <200000000>;
	non-removable;
	disable-wp;
	mmc-ddr-1_8v;
	mmc-hs200-1_8v;
	mmc-hs400-1_8v;
	//mmc-pwrseq = <&emmc_pwrseq>;
	//vmmc-supply = <&vcc_3v3>;
	//vqmmc-supply = <&vddio_boot>;
};

&sd_emmc_b {
	status = "okay";
	pinctrl-0 = <&sdcard_pins>;
	pinctrl-1 = <&sdcard_clk_gate_pins>;
	pinctrl-2 = <&sd_1bit_pins>;
	//pinctrl-3 = <&sd_to_ao_uart_clr_pins
	//	&sdcard_pins &ao_to_sd_uart_pins>;
	//pinctrl-4 = <&sd_to_ao_uart_clr_pins
	//	&sd_1bit_pins &ao_to_sd_uart_pins>;
	//pinctrl-5 = <&sdcard_pins &ao_uart_pins>;
	//pinctrl-6 = <&sd_to_ao_uart_clr_pins
	//	&ao_to_sd_uart_pins>;
	//pinctrl-7 = <&sdcard_pins &ao_uart_pins>;
	//pinctrl-8 = <&sd_to_ao_uart_clr_pins
	//	&ao_to_sd_uart_pins>;

	pinctrl-names = "sd_default",
			"clk-gate",
			"sd_1bit_pins";
	//		"sd_clk_cmd_uart_pins",
	//		"sd_1bit_uart_pins",
	//		"sd_to_ao_uart_pins",
	//		"ao_to_sd_uart_pins",
	//		"sd_to_ao_jtag_pins",
	//		"ao_to_sd_jtag_pins";
			bus-width = <4>;
			cap-sd-highspeed;
			sd-uhs-sdr12;
			sd-uhs-sdr25;
			sd-uhs-sdr50;
			sd-uhs-sdr104;
			max-frequency = <200000000>;
			disable-wp;
			dat1-gpios = <&gpio GPIOC_1 GPIO_ACTIVE_HIGH>;
			cd-gpios = <&gpio GPIOC_6 GPIO_ACTIVE_HIGH>;
			vmmc-supply = <&vddao3v3_reg>;
			vqmmc-supply = <&vddio_c>;
};

&sd_emmc_a {
	status = "okay";
	pinctrl-0 = <&sdio_m_pins>;
	pinctrl-1 = <&sdio_m_clk_gate_pins>;
	pinctrl-names = "default", "clk-gate";
	bus-width = <4>;
	cap-sd-highspeed;
	sd-uhs-sdr104;
	non-removable;
	max-frequency = <200000000>;
	disable-wp;
	cap-sdio-irq;
	keep-power-in-suspend;
	//broken-cd;
};

&mtd_nand {
	status = "disabled";
	#address-cells = <1>;
	#size-cells = <0>;

	pinctrl-names = "nand_norb_mod","nand_cs_only";
	pinctrl-0 = <&all_nand_pins>;
	pinctrl-1 = <&nand_cs_pins>;
	bl_mode = <1>;
	fip_copies = <4>;
	fip_size = <0x200000>;
	ship_bad_block = <1>;
	disa_irq_flag = <1>;
	nand@bootloader {
		reg = <0>;
		#address-cells = <1>;
		#size-cells = <1>;
		nand-ecc-maximize;
		partition@0 {
			label = "bootloader";
			reg = <0x0 0x00000000>;
		};
	};

	nand@normal {
		reg = <0>;
		#address-cells = <1>;
		#size-cells = <1>;
		nand-ecc-maximize;

		partition@0 {
			label = "tpl";
			reg = <0x0 0x00000000>;
		};
		partition@1 {
			label = "logo";
			reg = <0x0 0x00200000>;
		};
		partition@2 {
			label = "recovery";
			reg = <0x0 0x1000000>;
		};
		partition@3 {
			label = "boot";
			reg = <0x0 0x0F00000>;
		};
		partition@4 {
			label = "system";
			reg = <0x0 0x11800000>;
		};
		partition@5 {
			label = "data";
			reg = <0x0 0xffffffff>;
		};
	};
};

&dwc3 {
	status = "okay";
};

&usb2_phy_v2 {
	status = "okay";
	portnum = <2>;
};

&usb3_phy_v2 {
	status = "okay";
	portnum = <1>;
	otg = <1>;
	gpio-vbus-power = "GPIOH_6";
	gpios = <&gpio GPIOH_6 GPIO_ACTIVE_HIGH>;
};

&dwc2_a {
	status = "okay";
	/** 0: normal, 1: otg+dwc3 host only, 2: otg+dwc3 device only*/
	controller-type = <3>;
};

&ethmac {
	status = "okay";
	phy-handle = <&internal_ephy>;
	phy-mode = "rmii";
};

&uart_A {
	status = "okay";
};

&pcie_A {
	reset-gpio = <&gpio GPIOX_7 GPIO_ACTIVE_HIGH>;
	status = "disable";
};

&saradc {
	status = "okay";
};

&spicc0 {
	status = "disabled";
	pinctrl-names = "default";
	pinctrl-0 = <&spicc0_pins_x>;
	cs-gpios = <&gpio GPIOX_10 GPIO_ACTIVE_HIGH>;
};

&spicc1 {
	status = "disabled";
	pinctrl-names = "default";
	pinctrl-0 = <&spicc1_pins>;
	cs-gpios = <&gpio GPIOH_6 GPIO_ACTIVE_HIGH>;
};

&ir {
	status = "okay";
	pinctrl-0 = <&remote_pins>;
	pinctrl-names = "default";
	/*For linux platforms, use custom_maps_linux to override the default custom_maps in the IR*/
	map = <&custom_maps_linux>;
};

&vddcpu0 {
	status = "okay";
};

&vddcpu1 {
	status = "okay";
};

&pinctrl_audio {
	tdm_b_clk_pins: tdm_b_clk_pins {
		mux {
			groups = "tdm_sclk1", "tdm_lrclk1";
			function = "tdm_clk_outb";
		};
	};
};
